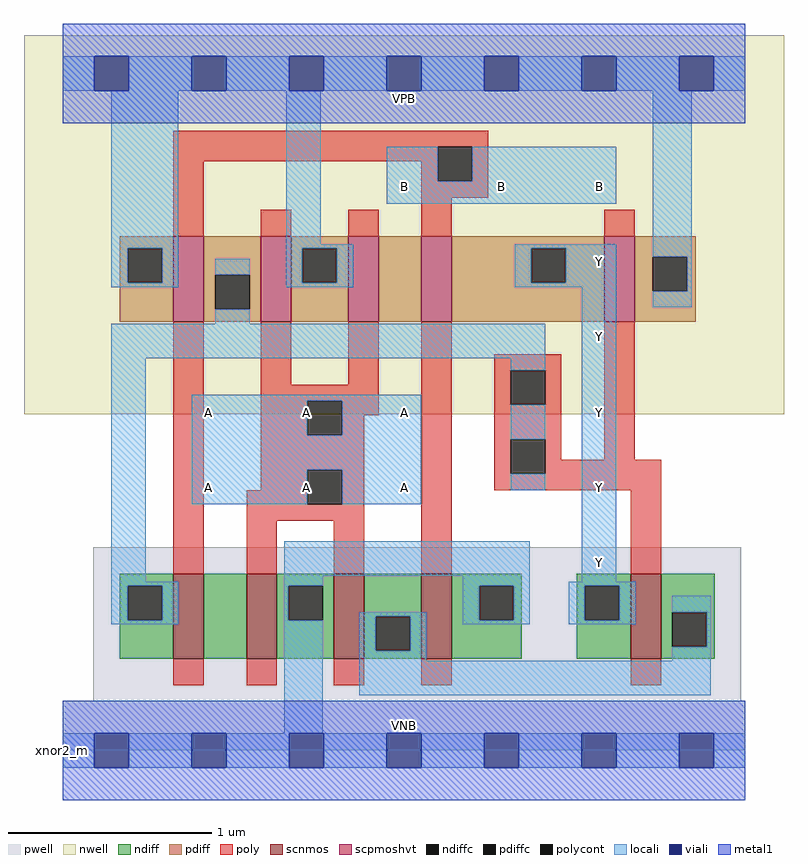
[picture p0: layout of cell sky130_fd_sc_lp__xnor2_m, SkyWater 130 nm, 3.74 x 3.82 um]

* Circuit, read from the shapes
.subckt sky130_fd_sc_lp__xnor2_m A B VGND VNB VPB VPWR Y
XM1 n1 B n2 VNB sky130_fd_pr__nfet_01v8 w=0.42 l=0.15
XM2 VGND A n1 VNB sky130_fd_pr__nfet_01v8 w=0.42 l=0.15
XM3 n3 A VGND VNB sky130_fd_pr__nfet_01v8 w=0.42 l=0.15
XM4 VGND B n3 VNB sky130_fd_pr__nfet_01v8 w=0.42 l=0.15
XM5 n3 n2 Y VNB sky130_fd_pr__nfet_01v8 w=0.42 l=0.15
XM6 n2 B VPWR VPB sky130_fd_pr__pfet_01v8_hvt w=0.42 l=0.15
XM7 VPWR A n2 VPB sky130_fd_pr__pfet_01v8_hvt w=0.42 l=0.15
XM8 n4 A VPWR VPB sky130_fd_pr__pfet_01v8_hvt w=0.42 l=0.15
XM9 Y B n4 VPB sky130_fd_pr__pfet_01v8_hvt w=0.42 l=0.15
XM10 VPWR n2 Y VPB sky130_fd_pr__pfet_01v8_hvt w=0.42 l=0.15
.ends

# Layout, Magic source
magic
tech sky130A
magscale 1 2
<< nwell >>
rect -38 331 710 704
<< pwell >>
rect 30 49 668 200
rect 0 0 672 49
<< scnmos >>
rect 109 90 139 174
rect 181 90 211 174
rect 267 90 297 174
rect 353 90 383 174
rect 559 90 589 174
<< scpmoshvt >>
rect 109 422 139 506
rect 195 422 225 506
rect 281 422 311 506
rect 353 422 383 506
rect 533 422 563 506
<< ndiff >>
rect 56 162 109 174
rect 56 128 64 162
rect 98 128 109 162
rect 56 90 109 128
rect 139 90 181 174
rect 211 162 267 174
rect 211 128 222 162
rect 256 128 267 162
rect 211 90 267 128
rect 297 132 353 174
rect 297 98 308 132
rect 342 98 353 132
rect 297 90 353 98
rect 383 162 452 174
rect 383 128 410 162
rect 444 128 452 162
rect 383 90 452 128
rect 506 162 559 174
rect 506 128 514 162
rect 548 128 559 162
rect 506 90 559 128
rect 589 136 642 174
rect 589 102 600 136
rect 634 102 642 136
rect 589 90 642 102
<< pdiff >>
rect 56 494 109 506
rect 56 460 64 494
rect 98 460 109 494
rect 56 422 109 460
rect 139 468 195 506
rect 139 434 150 468
rect 184 434 195 468
rect 139 422 195 434
rect 225 494 281 506
rect 225 460 236 494
rect 270 460 281 494
rect 225 422 281 460
rect 311 422 353 506
rect 383 494 533 506
rect 383 460 461 494
rect 495 460 533 494
rect 383 422 533 460
rect 563 486 623 506
rect 563 452 581 486
rect 615 452 623 486
rect 563 422 623 452
<< ndiffc >>
rect 64 128 98 162
rect 222 128 256 162
rect 308 98 342 132
rect 410 128 444 162
rect 514 128 548 162
rect 600 102 634 136
<< pdiffc >>
rect 64 460 98 494
rect 150 434 184 468
rect 236 460 270 494
rect 461 460 495 494
rect 581 452 615 486
<< poly >>
rect 109 594 419 610
rect 109 580 369 594
rect 109 506 139 580
rect 353 560 369 580
rect 403 560 419 594
rect 353 544 419 560
rect 195 506 225 532
rect 281 506 311 532
rect 353 506 383 544
rect 533 506 563 532
rect 109 174 139 422
rect 195 360 225 422
rect 281 360 311 422
rect 195 344 311 360
rect 195 310 241 344
rect 275 330 311 344
rect 275 310 297 330
rect 195 276 297 310
rect 195 256 241 276
rect 181 242 241 256
rect 275 242 297 276
rect 181 226 297 242
rect 181 174 211 226
rect 267 174 297 226
rect 353 174 383 422
rect 425 374 491 390
rect 425 340 441 374
rect 475 340 491 374
rect 425 306 491 340
rect 425 272 441 306
rect 475 286 491 306
rect 533 286 563 422
rect 475 272 589 286
rect 425 256 589 272
rect 559 174 589 256
rect 109 64 139 90
rect 181 64 211 90
rect 267 64 297 90
rect 353 64 383 90
rect 559 64 589 90
<< polycont >>
rect 369 560 403 594
rect 241 310 275 344
rect 241 242 275 276
rect 441 340 475 374
rect 441 272 475 306
<< locali >>
rect 0 649 31 683
rect 65 649 127 683
rect 161 649 223 683
rect 257 649 319 683
rect 353 649 415 683
rect 449 649 511 683
rect 545 649 607 683
rect 641 649 672 683
rect 48 494 114 649
rect 48 460 64 494
rect 98 460 114 494
rect 220 498 254 649
rect 319 560 369 594
rect 403 560 545 594
rect 319 538 545 560
rect 220 494 286 498
rect 48 456 114 460
rect 150 468 184 484
rect 220 460 236 494
rect 270 460 286 494
rect 220 456 286 460
rect 445 494 545 498
rect 445 460 461 494
rect 495 460 545 494
rect 445 456 545 460
rect 150 420 184 434
rect 48 386 475 420
rect 48 166 82 386
rect 441 374 475 386
rect 127 344 353 350
rect 127 310 241 344
rect 275 310 353 344
rect 127 276 353 310
rect 127 242 241 276
rect 275 242 353 276
rect 441 306 475 340
rect 441 256 475 272
rect 218 172 460 206
rect 48 162 114 166
rect 48 128 64 162
rect 98 128 114 162
rect 48 124 114 128
rect 218 162 256 172
rect 218 128 222 162
rect 394 162 460 172
rect 511 166 545 456
rect 581 486 619 649
rect 615 452 619 486
rect 581 436 619 452
rect 218 17 256 128
rect 292 132 358 136
rect 292 98 308 132
rect 342 98 358 132
rect 394 128 410 162
rect 444 128 460 162
rect 394 124 460 128
rect 498 162 564 166
rect 498 128 514 162
rect 548 128 564 162
rect 498 124 564 128
rect 600 136 638 152
rect 292 88 358 98
rect 634 102 638 136
rect 600 88 638 102
rect 292 54 638 88
rect 0 -17 31 17
rect 65 -17 127 17
rect 161 -17 223 17
rect 257 -17 319 17
rect 353 -17 415 17
rect 449 -17 511 17
rect 545 -17 607 17
rect 641 -17 672 17
<< viali >>
rect 31 649 65 683
rect 127 649 161 683
rect 223 649 257 683
rect 319 649 353 683
rect 415 649 449 683
rect 511 649 545 683
rect 607 649 641 683
rect 31 -17 65 17
rect 127 -17 161 17
rect 223 -17 257 17
rect 319 -17 353 17
rect 415 -17 449 17
rect 511 -17 545 17
rect 607 -17 641 17
<< metal1 >>
rect 0 683 672 715
rect 0 649 31 683
rect 65 649 127 683
rect 161 649 223 683
rect 257 649 319 683
rect 353 649 415 683
rect 449 649 511 683
rect 545 649 607 683
rect 641 649 672 683
rect 0 617 672 649
rect 0 17 672 49
rect 0 -17 31 17
rect 65 -17 127 17
rect 161 -17 223 17
rect 257 -17 319 17
rect 353 -17 415 17
rect 449 -17 511 17
rect 545 -17 607 17
rect 641 -17 672 17
rect 0 -49 672 -17
<< labels >>
flabel pwell s 0 0 672 49 0 FreeSans 200 0 0 0 VNB
port 4 nsew ground bidirectional
flabel nwell s 0 617 672 666 0 FreeSans 200 0 0 0 VPB
port 5 nsew power bidirectional
rlabel comment s 0 0 0 0 4 xnor2_m
flabel metal1 s 0 617 672 666 0 FreeSans 340 0 0 0 VPWR
port 6 nsew power bidirectional
flabel metal1 s 0 0 672 49 0 FreeSans 340 0 0 0 VGND
port 3 nsew ground bidirectional
flabel locali s 127 242 161 276 0 FreeSans 340 0 0 0 A
port 1 nsew signal input
flabel locali s 127 316 161 350 0 FreeSans 340 0 0 0 A
port 1 nsew signal input
flabel locali s 223 242 257 276 0 FreeSans 340 0 0 0 A
port 1 nsew signal input
flabel locali s 223 316 257 350 0 FreeSans 340 0 0 0 A
port 1 nsew signal input
flabel locali s 319 242 353 276 0 FreeSans 340 0 0 0 A
port 1 nsew signal input
flabel locali s 319 316 353 350 0 FreeSans 340 0 0 0 A
port 1 nsew signal input
flabel locali s 319 538 353 572 0 FreeSans 340 0 0 0 B
port 2 nsew signal input
flabel locali s 415 538 449 572 0 FreeSans 340 0 0 0 B
port 2 nsew signal input
flabel locali s 511 538 545 572 0 FreeSans 340 0 0 0 B
port 2 nsew signal input
flabel locali s 511 168 545 202 0 FreeSans 340 0 0 0 Y
port 7 nsew signal output
flabel locali s 511 242 545 276 0 FreeSans 340 0 0 0 Y
port 7 nsew signal output
flabel locali s 511 316 545 350 0 FreeSans 340 0 0 0 Y
port 7 nsew signal output
flabel locali s 511 390 545 424 0 FreeSans 340 0 0 0 Y
port 7 nsew signal output
flabel locali s 511 464 545 498 0 FreeSans 340 0 0 0 Y
port 7 nsew signal output
<< properties >>
string LEFsite unit
string LEFclass CORE
string FIXED_BBOX 0 0 672 666
string GDS_FILE $PDKPATH/libs.ref/sky130_fd_sc_lp/gds/sky130_fd_sc_lp.gds
string LEFsymmetry X Y R90
string GDS_END 4265166
string GDS_START 4258668
<< end >>
